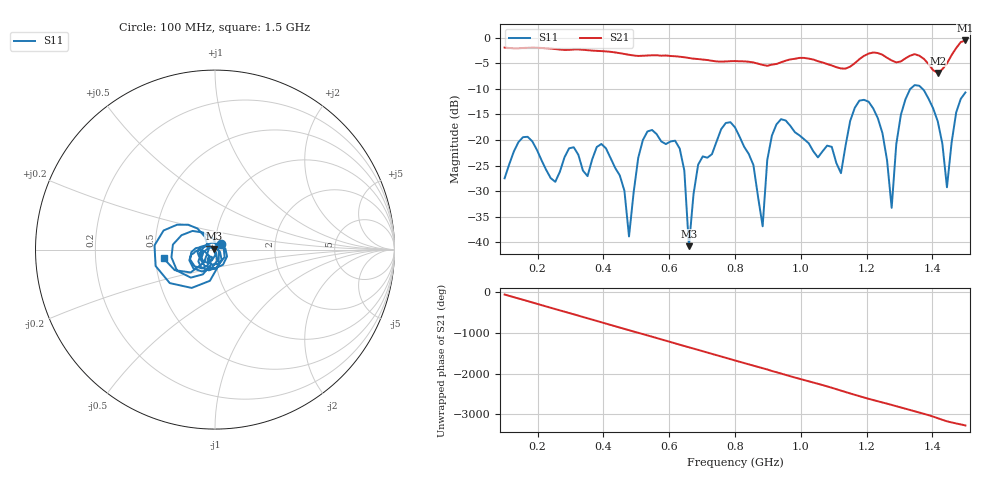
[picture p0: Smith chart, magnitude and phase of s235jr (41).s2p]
! NanoVNA-App
! Date: 2025-09-25 15:04:29
! Start: 100MHz Stop: 1,5GHz Points: 101
! S-Parameter data: F S11 S21 S12 S22
# Hz S RI R 50
!  Frequency  S11_Real  S11_Imag  S21_Real  S21_Imag  S12_Real  S12_Imag  S22_Real  S22_Imag
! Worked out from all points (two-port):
!   101 points, 100 MHz to 1.5 GHz, reference 50 ohm
!   highest |S21| = -0.57 dB at 1.5 GHz (marker M1); lowest = -6.9 dB at 1.416 GHz (marker M2)
!   |S21| within 3 dB of the highest: start of sweep to 502.4 MHz; 514.6 MHz to 599.2 MHz (84.63 MHz wide, 15.2 % of centre) (the widest 2 of 5)
!   lowest |S11| = -40.7 dB at 660 MHz (marker M3), VSWR 1.02, Z = 49.3 + j0.577 ohm
!   |S11| at or under -10 dB: start of sweep to 1.333 GHz; 1.369 GHz to end of sweep
!   S12 and S22 are empty: the file has one direction only
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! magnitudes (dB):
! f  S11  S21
! 100 MHz  -27.5  -2.0
! 156 MHz  -19.4  -2.0
! 338 MHz  -26.0  -2.4
! 408 MHz  -21.6  -2.7
! 478 MHz  -38.8  -3.4
! 520 MHz  -20.0  -3.6
! 576 MHz  -20.3  -3.5
! 632 MHz  -21.7  -3.7
! 660 MHz  -40.7  -4.0
! 688 MHz  -24.8  -4.2
! 800 MHz  -17.5  -4.6
! 884 MHz  -36.9  -5.3
! 926 MHz  -17.0  -5.2
! 1.038 GHz  -22.2  -4.3
! 1.122 GHz  -26.5  -6.0
! 1.206 GHz  -12.5  -3.1
! 1.276 GHz  -33.3  -4.5
! 1.29 GHz  -20.8  -4.9
! 1.332 GHz  -10.1  -3.5
! 1.416 GHz  -16.4  -6.9
! 1.444 GHz  -29.2  -5.1
! 1.5 GHz  -10.7  -0.6
